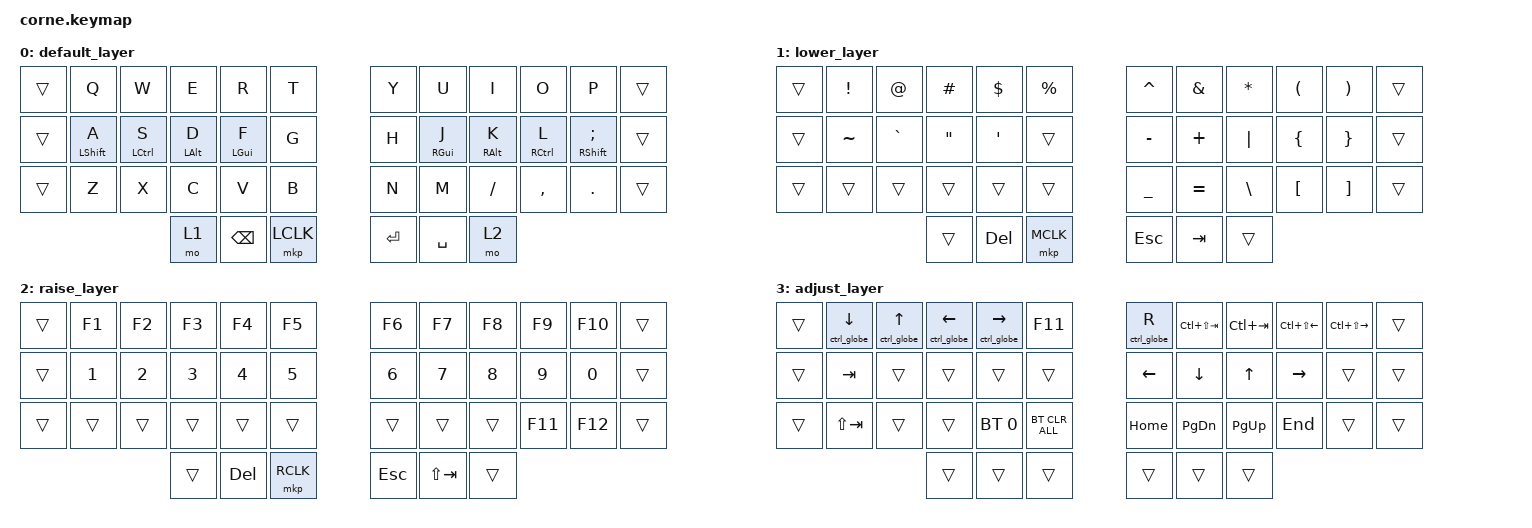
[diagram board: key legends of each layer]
// dt-formatter: indent="  "
// dt-formatter: multilineIntegerCellsIndent="reindent"

#include <behaviors.dtsi>
#include <dt-bindings/zmk/bt.h>
#include <dt-bindings/zmk/keys.h>
#include <dt-bindings/zmk/mouse.h>

/ {
  behaviors {
    lhrm: lhrm {
      compatible = "zmk,behavior-hold-tap";
      label = "L_HRM";
      bindings = <&kp>, <&kp>;

      #binding-cells = <2>;
      tapping-term-ms = <200>;
      hold-trigger-key-positions = <6 7 8 9 10 18 19 20 21 22 30 31 32 33 34>;
      retro-tap;
      hold-while-undecided;
    };

    rhrm: rhrm {
      compatible = "zmk,behavior-hold-tap";
      label = "R_HRM";
      bindings = <&kp>, <&kp>;

      #binding-cells = <2>;
      tapping-term-ms = <200>;
      hold-while-undecided;
      retro-tap;
      hold-trigger-key-positions = <1 2 3 4 5 13 14 15 16 17 25 26 27 28 29>;
    };
  };

  combos {
    compatible = "zmk,combos";

    jk_esc {
      bindings = <&kp ESC>;
      key-positions = <19 20>;
    };

    df_tab {
      bindings = <&kp TAB>;
      key-positions = <15 16>;
    };
  };

  macros {
    ctrl_globe: ctrl_globe {
      compatible = "zmk,behavior-macro-one-param";
      #binding-cells = <1>;
      bindings =
        <&macro_press>,
        <&kp LCTL>,
        <&macro_press>,
        <&kp GLOBE &macro_param_1to1>,
        <&macro_release>,
        <&kp MACRO_PLACEHOLDER>,
        <&macro_release>,
        <&kp LCTL>;
    };
  };

  keymap {
    compatible = "zmk,keymap";

    default_layer {
      bindings = <
        &trans  &kp Q           &kp W          &kp E         &kp R         &kp T        &kp Y    &kp U         &kp I         &kp O          &kp P              &trans
        &trans  &lhrm LSHIFT A  &lhrm LCTRL S  &lhrm LALT D  &lhrm LGUI F  &kp G        &kp H    &rhrm RGUI J  &rhrm RALT K  &rhrm RCTRL L  &rhrm RSHIFT SEMI  &trans
        &trans  &kp Z           &kp X          &kp C         &kp V         &kp B        &kp N    &kp M         &kp FSLH      &kp COMMA      &kp DOT            &trans
                                               &mo 1         &kp BSPC      &mkp LCLK    &kp RET  &kp SPACE     &mo 2
      >;
    };

    lower_layer {
      bindings = <
        &trans  &kp EXCL   &kp AT     &kp HASH  &kp DLLR  &kp PRCNT    &kp CARET  &kp AMPS   &kp ASTRK  &kp LPAR  &kp RPAR  &trans
        &trans  &kp TILDE  &kp GRAVE  &kp DQT   &kp SQT   &trans       &kp MINUS  &kp PLUS   &kp PIPE   &kp LBRC  &kp RBRC  &trans
        &trans  &trans     &trans     &trans    &trans    &trans       &kp UNDER  &kp EQUAL  &kp BSLH   &kp LBKT  &kp RBKT  &trans
                                      &trans    &kp DEL   &mkp MCLK    &kp ESC    &kp TAB    &trans
      >;
    };

    raise_layer {
      bindings = <
        &trans  &kp F1  &kp F2  &kp F3  &kp F4   &kp F5       &kp F6   &kp F7       &kp F8  &kp F9   &kp F10  &trans
        &trans  &kp N1  &kp N2  &kp N3  &kp N4   &kp N5       &kp N6   &kp N7       &kp N8  &kp N9   &kp N0   &trans
        &trans  &trans  &trans  &trans  &trans   &trans       &trans   &trans       &trans  &kp F11  &kp F12  &trans
                                &trans  &kp DEL  &mkp RCLK    &kp ESC  &kp LS(TAB)  &trans
      >;
    };

    adjust_layer {
      bindings = <
        &trans  &ctrl_globe DOWN  &ctrl_globe UP  &ctrl_globe LEFT  &ctrl_globe RIGHT  &kp F11           &ctrl_globe R  &kp LC(LS(TAB))  &kp LC(TAB)  &kp LC(LS(LEFT))  &kp LC(LS(RIGHT))  &trans
        &trans  &kp TAB           &trans          &trans            &trans             &trans            &kp LEFT       &kp DOWN         &kp UP       &kp RIGHT         &trans             &trans
        &trans  &kp LS(TAB)       &trans          &trans            &bt BT_SEL 0       &bt BT_CLR_ALL    &kp HOME       &kp PG_DN        &kp PG_UP    &kp END           &trans             &trans
                                                  &trans            &trans             &trans            &trans         &trans           &trans
      >;
    };
  };

  conditional_layers {
    compatible = "zmk,conditional-layers";

    tri_layer {
      if-layers = <1 2>;
      then-layer = <3>;
    };
  };
};
